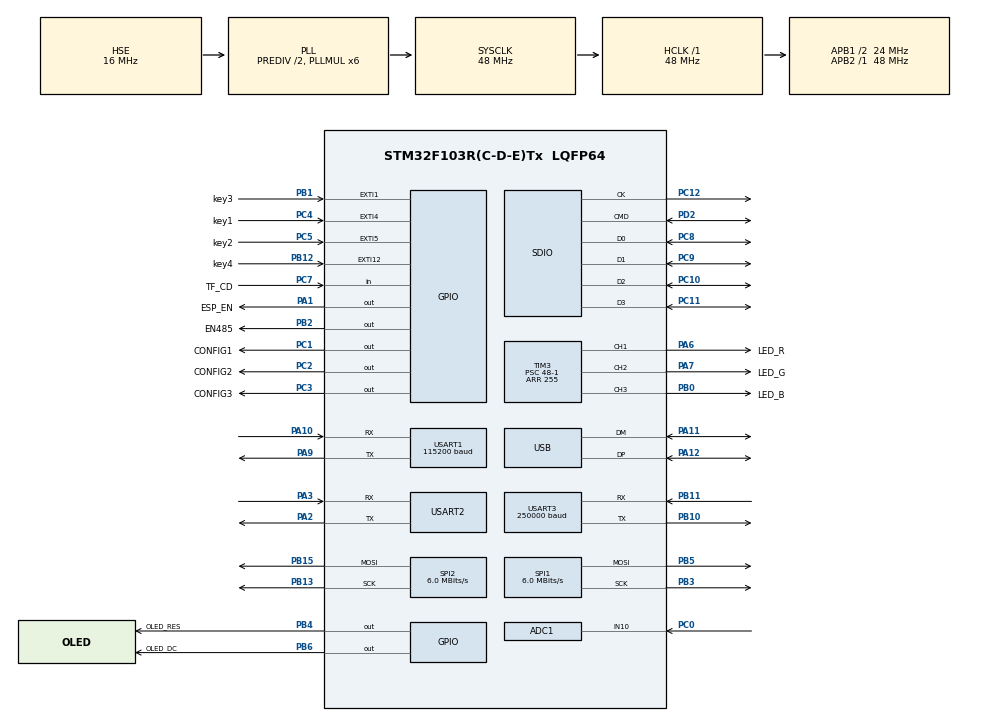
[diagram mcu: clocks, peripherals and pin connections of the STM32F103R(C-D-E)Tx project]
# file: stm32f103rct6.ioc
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ADC1.Channel-0\#ChannelRegularConversion=ADC_CHANNEL_10
ADC1.ContinuousConvMode=DISABLE
ADC1.EnableInjectedConversion=DISABLE
ADC1.ExternalTrigConv=ADC_EXTERNALTRIGCONV_T8_TRGO
ADC1.NbrOfConversion=1
ADC1.NbrOfConversionFlag=1
ADC1.Rank-0\#ChannelRegularConversion=1
ADC1.SamplingTime-0\#ChannelRegularConversion=ADC_SAMPLETIME_239CYCLES_5
ADC1.master=1
Dma.ADC1.5.Direction=DMA_PERIPH_TO_MEMORY
Dma.ADC1.5.Instance=DMA1_Channel1
Dma.ADC1.5.MemDataAlignment=DMA_MDATAALIGN_HALFWORD
Dma.ADC1.5.MemInc=DMA_MINC_ENABLE
Dma.ADC1.5.Mode=DMA_NORMAL
Dma.ADC1.5.PeriphDataAlignment=DMA_PDATAALIGN_HALFWORD
Dma.ADC1.5.PeriphInc=DMA_PINC_DISABLE
Dma.ADC1.5.Priority=DMA_PRIORITY_LOW
Dma.Request0=SPI1_TX
Dma.Request1=USART2_RX
Dma.Request2=USART2_TX
Dma.Request3=SDIO
Dma.Request4=SPI2_TX
Dma.Request5=ADC1
Dma.SDIO.3.Direction=DMA_PERIPH_TO_MEMORY
Dma.SDIO.3.Instance=DMA2_Channel4
Dma.SDIO.3.MemDataAlignment=DMA_MDATAALIGN_WORD
Dma.SDIO.3.MemInc=DMA_MINC_ENABLE
Dma.SDIO.3.Mode=DMA_NORMAL
Dma.SDIO.3.PeriphDataAlignment=DMA_PDATAALIGN_WORD
Dma.SDIO.3.PeriphInc=DMA_PINC_DISABLE
Dma.SDIO.3.Priority=DMA_PRIORITY_LOW
Dma.SPI1_TX.0.Direction=DMA_MEMORY_TO_PERIPH
Dma.SPI1_TX.0.Instance=DMA1_Channel3
Dma.SPI1_TX.0.MemDataAlignment=DMA_MDATAALIGN_BYTE
Dma.SPI1_TX.0.MemInc=DMA_MINC_ENABLE
Dma.SPI1_TX.0.Mode=DMA_NORMAL
Dma.SPI1_TX.0.PeriphDataAlignment=DMA_PDATAALIGN_BYTE
Dma.SPI1_TX.0.PeriphInc=DMA_PINC_DISABLE
Dma.SPI1_TX.0.Priority=DMA_PRIORITY_MEDIUM
Dma.SPI2_TX.4.Direction=DMA_MEMORY_TO_PERIPH
Dma.SPI2_TX.4.Instance=DMA1_Channel5
Dma.SPI2_TX.4.MemDataAlignment=DMA_MDATAALIGN_BYTE
Dma.SPI2_TX.4.MemInc=DMA_MINC_ENABLE
Dma.SPI2_TX.4.Mode=DMA_NORMAL
Dma.SPI2_TX.4.PeriphDataAlignment=DMA_PDATAALIGN_BYTE
Dma.SPI2_TX.4.PeriphInc=DMA_PINC_DISABLE
Dma.SPI2_TX.4.Priority=DMA_PRIORITY_LOW
Dma.USART2_RX.1.Direction=DMA_PERIPH_TO_MEMORY
Dma.USART2_RX.1.Instance=DMA1_Channel6
Dma.USART2_RX.1.MemDataAlignment=DMA_MDATAALIGN_BYTE
Dma.USART2_RX.1.MemInc=DMA_MINC_ENABLE
Dma.USART2_RX.1.Mode=DMA_NORMAL
Dma.USART2_RX.1.PeriphDataAlignment=DMA_PDATAALIGN_BYTE
Dma.USART2_RX.1.PeriphInc=DMA_PINC_DISABLE
Dma.USART2_RX.1.Priority=DMA_PRIORITY_HIGH
Dma.USART2_TX.2.Direction=DMA_MEMORY_TO_PERIPH
Dma.USART2_TX.2.Instance=DMA1_Channel7
Dma.USART2_TX.2.MemDataAlignment=DMA_MDATAALIGN_BYTE
Dma.USART2_TX.2.MemInc=DMA_MINC_ENABLE
Dma.USART2_TX.2.Mode=DMA_NORMAL
Dma.USART2_TX.2.PeriphDataAlignment=DMA_PDATAALIGN_BYTE
Dma.USART2_TX.2.PeriphInc=DMA_PINC_DISABLE
Dma.USART2_TX.2.Priority=DMA_PRIORITY_LOW
FATFS.BSP.number=1
FATFS._CODE_PAGE=437
FATFS._LFN_UNICODE=0
FATFS._MAX_LFN=100
FATFS._USE_LFN=3
FATFS._USE_STRFUNC=1
FATFS0.BSP.STBoard=false
FATFS0.BSP.api=Unknown
FATFS0.BSP.instance=PC7
FATFS0.BSP.ip=GPIO
FATFS0.BSP.mode=Input
FATFS0.BSP.name=Detect_SDIO
FATFS0.BSP.solution=PC7
Mcu.Family=STM32F1
Mcu.Name=STM32F103R(C-D-E)Tx
Mcu.Package=LQFP64
NVIC.DMA1_Channel1_IRQn=true\:0\:0\:false\:false\:true\:false\:true\:true
NVIC.DMA1_Channel3_IRQn=true\:1\:0\:true\:false\:true\:false\:true\:true
NVIC.DMA1_Channel5_IRQn=true\:0\:0\:false\:false\:true\:false\:true\:true
NVIC.DMA1_Channel6_IRQn=true\:0\:0\:true\:false\:true\:false\:true\:true
NVIC.DMA1_Channel7_IRQn=true\:0\:0\:true\:false\:true\:false\:true\:true
NVIC.DMA2_Channel4_5_IRQn=true\:2\:0\:true\:false\:true\:false\:true\:true
NVIC.EXTI15_10_IRQn=true\:2\:0\:true\:false\:true\:true\:true\:true
NVIC.EXTI1_IRQn=true\:2\:0\:true\:false\:true\:true\:true\:true
NVIC.EXTI4_IRQn=true\:2\:0\:true\:false\:true\:true\:true\:true
NVIC.EXTI9_5_IRQn=true\:2\:0\:true\:false\:true\:true\:true\:true
NVIC.PriorityGroup=NVIC_PRIORITYGROUP_4
NVIC.SDIO_IRQn=true\:1\:0\:true\:false\:true\:true\:true\:true
NVIC.SPI1_IRQn=true\:1\:0\:true\:false\:true\:true\:true\:true
NVIC.SPI2_IRQn=true\:1\:0\:true\:false\:true\:true\:true\:true
NVIC.TIM1_UP_IRQn=true\:1\:0\:true\:false\:true\:true\:true\:true
NVIC.TIM2_IRQn=true\:15\:0\:true\:false\:true\:false\:true\:true
NVIC.TIM4_IRQn=true\:0\:0\:true\:false\:true\:true\:true\:true
NVIC.TIM5_IRQn=true\:1\:0\:true\:false\:true\:true\:true\:true
NVIC.TimeBase=TIM2_IRQn
NVIC.TimeBaseIP=TIM2
NVIC.USART1_IRQn=true\:0\:0\:true\:false\:true\:true\:true\:true
NVIC.USART2_IRQn=true\:0\:0\:true\:false\:true\:true\:true\:true
NVIC.USB_HP_CAN1_TX_IRQn=true\:1\:0\:true\:false\:true\:true\:true\:true
NVIC.USB_LP_CAN1_RX0_IRQn=true\:0\:0\:false\:false\:true\:false\:true\:true
PA1.GPIO_Label=ESP_EN
PA1.Signal=GPIO_Output
PA10.Mode=Asynchronous
PA10.Signal=USART1_RX
PA11.Mode=Device
PA11.Signal=USB_DM
PA12.Mode=Device
PA12.Signal=USB_DP
PA13.Mode=Serial_Wire
PA13.Signal=SYS_JTMS-SWDIO
PA14.Mode=Serial_Wire
PA14.Signal=SYS_JTCK-SWCLK
PA2.Mode=Asynchronous
PA2.Signal=USART2_TX
PA3.Mode=Asynchronous
PA3.Signal=USART2_RX
PA6.GPIO_Label=LED_R
PA6.Signal=S_TIM3_CH1
PA7.GPIO_Label=LED_G
PA7.Signal=S_TIM3_CH2
PA9.Mode=Asynchronous
PA9.Signal=USART1_TX
PB0.GPIO_Label=LED_B
PB0.Signal=S_TIM3_CH3
PB1.GPIO_Label=key3
PB1.GPIO_ModeDefaultEXTI=GPIO_MODE_IT_RISING_FALLING
PB1.GPIO_PuPd=GPIO_PULLUP
PB1.Signal=GPXTI1
PB10.Mode=Asynchronous
PB10.Signal=USART3_TX
PB11.Mode=Asynchronous
PB11.Signal=USART3_RX
PB12.GPIO_Label=key4
PB12.GPIO_ModeDefaultEXTI=GPIO_MODE_IT_RISING_FALLING
PB12.GPIO_PuPd=GPIO_PULLUP
PB12.Signal=GPXTI12
PB13.Mode=TX_Only_Simplex_Unidirect_Master
PB13.Signal=SPI2_SCK
PB15.Mode=TX_Only_Simplex_Unidirect_Master
PB15.Signal=SPI2_MOSI
PB2.GPIO_Label=EN485
PB2.Signal=GPIO_Output
PB3.Mode=TX_Only_Simplex_Unidirect_Master
PB3.Signal=SPI1_SCK
PB4.GPIO_Label=OLED_RES
PB4.GPIO_ModeDefaultOutputPP=GPIO_MODE_OUTPUT_PP
PB4.GPIO_PuPd=GPIO_NOPULL
PB4.Signal=GPIO_Output
PB5.Mode=TX_Only_Simplex_Unidirect_Master
PB5.Signal=SPI1_MOSI
PB6.GPIO_Label=OLED_DC
PB6.GPIO_PuPd=GPIO_NOPULL
PB6.GPIO_Speed=GPIO_SPEED_FREQ_HIGH
PB6.PinState=GPIO_PIN_RESET
PB6.Signal=GPIO_Output
PC0.Signal=ADCx_IN10
PC1.GPIO_Label=CONFIG1
PC1.GPIO_ModeDefaultOutputPP=GPIO_MODE_OUTPUT_OD
PC1.GPIO_PuPd=GPIO_NOPULL
PC1.PinState=GPIO_PIN_SET
PC1.Signal=GPIO_Output
PC10.Mode=SD_4_bits_Wide_bus
PC10.Signal=SDIO_D2
PC11.Mode=SD_4_bits_Wide_bus
PC11.Signal=SDIO_D3
PC12.Mode=SD_4_bits_Wide_bus
PC12.Signal=SDIO_CK
PC2.GPIO_Label=CONFIG2
PC2.Signal=GPIO_Output
PC3.GPIO_Label=CONFIG3
PC3.Signal=GPIO_Output
PC4.GPIO_Label=key1
PC4.GPIO_ModeDefaultEXTI=GPIO_MODE_IT_RISING_FALLING
PC4.GPIO_PuPd=GPIO_PULLUP
PC4.Signal=GPXTI4
PC5.GPIO_Label=key2
PC5.GPIO_ModeDefaultEXTI=GPIO_MODE_IT_RISING_FALLING
PC5.GPIO_PuPd=GPIO_PULLUP
PC5.Signal=GPXTI5
PC7.GPIO_Label=TF_CD
PC7.GPIO_PuPd=GPIO_PULLDOWN
PC7.Signal=GPIO_Input
PC8.Mode=SD_4_bits_Wide_bus
PC8.Signal=SDIO_D0
PC9.Mode=SD_4_bits_Wide_bus
PC9.Signal=SDIO_D1
PD0-OSC_IN.Mode=HSE-External-Oscillator
PD0-OSC_IN.Signal=RCC_OSC_IN
PD1-OSC_OUT.Mode=HSE-External-Oscillator
PD1-OSC_OUT.Signal=RCC_OSC_OUT
PD2.Mode=SD_4_bits_Wide_bus
PD2.Signal=SDIO_CMD
ProjectManager.HeapSize=0x1000
ProjectManager.StackSize=0x1200
ProjectManager.TargetToolchain=MDK-ARM V5.32
RCC.ADCPresc=RCC_ADCPCLK2_DIV4
RCC.AHBFreq_Value=48000000
RCC.APB1CLKDivider=RCC_HCLK_DIV2
RCC.APB1Freq_Value=24000000
RCC.APB1TimFreq_Value=48000000
RCC.APB2Freq_Value=48000000
RCC.APB2TimFreq_Value=48000000
RCC.HCLKFreq_Value=48000000
RCC.HSEDivPLL=RCC_HSE_PREDIV_DIV2
RCC.HSE_VALUE=16000000
RCC.PLLMUL=RCC_PLL_MUL6
RCC.PLLSourceVirtual=RCC_PLLSOURCE_HSE
RCC.RTCClockSelection=RCC_RTCCLKSOURCE_LSE
RCC.SYSCLKFreq_VALUE=48000000
RCC.SYSCLKSource=RCC_SYSCLKSOURCE_PLLCLK
RCC.USBFreq_Value=48000000
SDIO.ClockDiv=2
SDIO.HardwareFlowControl=SDIO_HARDWARE_FLOW_CONTROL_ENABLE
SH.ADCx_IN10.0=ADC1_IN10,IN10
SH.S_TIM3_CH1.0=TIM3_CH1,PWM Generation1 CH1
SH.S_TIM3_CH2.0=TIM3_CH2,PWM Generation2 CH2
SH.S_TIM3_CH3.0=TIM3_CH3,PWM Generation3 CH3
SPI1.BaudRatePrescaler=SPI_BAUDRATEPRESCALER_8
SPI1.CalculateBaudRate=6.0 MBits/s
SPI1.Direction=SPI_DIRECTION_2LINES
SPI1.Mode=SPI_MODE_MASTER
SPI1.VirtualType=VM_MASTER
SPI2.BaudRatePrescaler=SPI_BAUDRATEPRESCALER_4
SPI2.CLKPhase=SPI_PHASE_2EDGE
SPI2.CalculateBaudRate=6.0 MBits/s
SPI2.DataSize=SPI_DATASIZE_8BIT
SPI2.Direction=SPI_DIRECTION_2LINES
SPI2.Mode=SPI_MODE_MASTER
SPI2.VirtualType=VM_MASTER
TIM1.ClockDivision=TIM_CLOCKDIVISION_DIV1
TIM1.Period=65535
TIM1.Prescaler=480-1
TIM3.Channel-PWM\ Generation1\ CH1=TIM_CHANNEL_1
TIM3.Channel-PWM\ Generation2\ CH2=TIM_CHANNEL_2
TIM3.Channel-PWM\ Generation3\ CH3=TIM_CHANNEL_3
TIM3.Channel-PWM\ Generation4\ CH4=TIM_CHANNEL_4
TIM3.OC1Preload_PWM=DISABLE
TIM3.OC2Preload_PWM=DISABLE
TIM3.OC3Preload_PWM=DISABLE
TIM3.Period=255
TIM3.Prescaler=48-1
TIM4.Period=5000
TIM4.Prescaler=480-1
TIM5.Period=10000
TIM5.Prescaler=48-1
TIM8.AutoReloadPreload=TIM_AUTORELOAD_PRELOAD_ENABLE
TIM8.Period=480-1
TIM8.TIM_MasterOutputTrigger=TIM_TRGO_UPDATE
USART1.BaudRate=115200
USART1.VirtualMode=VM_ASYNC
USART2.VirtualMode=VM_ASYNC
USART3.BaudRate=250000
USART3.VirtualMode=VM_ASYNC
USB_DEVICE.CLASS_NAME_FS=MSC
USB_DEVICE.VirtualMode=Msc
USB_DEVICE.VirtualModeFS=Msc_FS
VP_FATFS_VS_SDIO.Mode=SDIO
VP_SYS_VS_tim2.Mode=TIM2
VP_TIM1_VS_ClockSourceINT.Mode=Internal
VP_TIM3_VS_ClockSourceINT.Mode=Internal
VP_TIM4_VS_ClockSourceINT.Mode=Internal
VP_TIM5_VS_ClockSourceINT.Mode=Internal
VP_TIM8_VS_ClockSourceINT.Mode=Internal
VP_USB_DEVICE_VS_USB_DEVICE_MSC_FS.Mode=MSC_FS
board=custom

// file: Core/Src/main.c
/* USER CODE BEGIN Header */
/**
 ******************************************************************************
 * @file           : main.c
 * @brief          : Main program body
 ******************************************************************************
 * @attention
 *
 * Copyright (c) 2023 STMicroelectronics.
 * All rights reserved.
 *
 * This software is licensed under terms that can be found in the LICENSE file
 * in the root directory of this software component.
 * If no LICENSE file comes with this software, it is provided AS-IS.
 *
 ******************************************************************************
 */
/* USER CODE END Header */
#include "main.h"
#include "adc.h"
#include "dma.h"
#include "fatfs.h"
#include "sdio.h"
#include "spi.h"
#include "tim.h"
#include "usart.h"
#include "usb_device.h"
#include "gpio.h"

/* USER CODE BEGIN Includes */
#include "stdio.h"
#include "oled.h"
#include "ws2811.h"
#include "myFatfs.h"
#include "GUI.h"
#include "ESP8266.h"
#include "stdio.h"
#include "arm_math.h"
#include "arm_const_structs.h"

#define FFT_LENGTH 32
volatile uint16_t adc_buf[FFT_LENGTH];
float fft_input[FFT_LENGTH * 2];
float fft_output[FFT_LENGTH];
/* USER CODE END Includes */

/* USER CODE BEGIN PM */

int fputc(int ch, FILE *f)
{
  uint8_t data = (uint8_t)ch;
  HAL_UART_Transmit(&huart1, &data, 1, 10);
  return (ch);
}
/* USER CODE END PM */

/* USER CODE BEGIN PV */
volatile GUI_InputKey gui_key = KEY_NONE;
volatile uint8_t OLED_TRANSMIT = 0;
volatile uint8_t HTTP_GET = 0;

extern volatile uint8_t adc_flag;
/* USER CODE END PV */

void SystemClock_Config(void);

/* USER CODE BEGIN 0 */
void FS_TRANS(uint8_t *pData, uint16_t Size)
{
  if (ESP8266_UART_status != ESP8266_ACK_ERROR)
  {
    uint8_t a[20] = {0};
    sprintf((char *)a, "AT+CIPSEND=0,%d\r\n", (int)Size);
    FS_uart_status = FS_UART_BUSY;
    HAL_UART_Transmit_DMA(&huart2, a, strlen((const char *)a));
    while (FS_uart_status)
      ;
    HAL_Delay(2);
    FS_uart_status = FS_UART_BUSY;
    HAL_UART_Transmit_DMA(&huart2, pData, Size);
    while (FS_uart_status)
      ;
    HAL_Delay(10);
  }
}

void dir_read(const TCHAR *path)
{
  FIL file;
  DIR dirs;
  static FILINFO finfo;
  if (f_opendir(&dirs, path) == FR_OK) // 打开文件夹成�?????????????????????????????
  {
    // printf("Now Dir:%s\r\n", finfo.fname);
    while (f_readdir(&dirs, &finfo) == FR_OK) // 按顺序读文件�?????????????????????????????
    {
      if (!finfo.fname[0])
        break; // 如果文件名为0，结�?????????????????????????????
      else
      {
        if (finfo.fattrib == AM_DIR)
        {
          printf("Now Dir:%s\r\n", finfo.fname);
          dir_read(finfo.fname);
        }
        else if (finfo.fattrib == AM_ARC) // 判断文件属�??
        {
          printf("FileName:%s\r\n", finfo.fname);
          myfatfs_open(&file, finfo.fname, FS_TRANS);
        }
      }
    }
  }
}

void FFT()
{
  HAL_TIM_Base_Start(&htim8);                                 // 开启定时器8
  HAL_ADCEx_Calibration_Start(&hadc1);                        // AD校准，F4不用校准没用这行函数。
  HAL_ADC_Start_DMA(&hadc1, (uint32_t *)adc_buf, FFT_LENGTH); // 让ADC1去采集200个数，存放到adc_buff数组里
  while (!adc_flag)                                           // 等待转换完毕
    ;
  HAL_TIM_Base_Stop(&htim8);
  for (uint16_t i = 0; i < FFT_LENGTH; i++)
  {
    fft_input[i * 2] = (float)adc_buf[i] * 3.3 / 4095; // 实部赋�?�，* 3.3 / 4096是为了将ADC采集到的值转换成实际电压
    fft_input[i * 2 + 1] = 0;                          // 虚部赋�?�，固定�?0.
  }

  arm_cfft_f32(&arm_cfft_sR_f32_len32, fft_input, 0, 1); // 输出数组为原数组。虚实位置不变，但是有了对应的频率含�?
  arm_cmplx_mag_f32(fft_input, fft_output, FFT_LENGTH);  // 把运算结果复数求模得幅�??
  /**********************处理变换结果*******************************/
  fft_output[0] /= FFT_LENGTH;

  for (uint16_t i = 1; i < FFT_LENGTH; i++) // 输出各次谐波幅�??
  {
    if (fft_output[i])
      ;//fft_output[i] /= FFT_LENGTH / 2;
  }

  for (uint16_t i = 0; i < FFT_LENGTH / 2; i++)
  {
    printf("%d:%.3f\r\n", i, fft_output[i]); // 数据打印，查看结果
  }
  //OLED_Fill(0);
  uint8_t a[]={0xff};
  OLED_DrawBMP(0,0,1,1,a);

}
/* USER CODE END 0 */

int main(void)
{

  /* MCU Configuration--------------------------------------------------------*/

  /* Reset of all peripherals, Initializes the Flash interface and the Systick. */
  HAL_Init();

  /* Configure the system clock */
  SystemClock_Config();

  /* Initialize all configured peripherals */
  MX_GPIO_Init();
  MX_DMA_Init();
  MX_USART1_UART_Init();
  MX_SPI1_Init();
  MX_SPI2_Init();
  MX_TIM3_Init();
  MX_USART2_UART_Init();
  MX_ADC1_Init();
  MX_SDIO_SD_Init();
  MX_USART3_UART_Init();
  MX_TIM1_Init();
  MX_TIM4_Init();
  MX_TIM8_Init();
  MX_FATFS_Init();
  MX_USB_DEVICE_Init();
  MX_TIM5_Init();
  /* USER CODE BEGIN 2 */
  OLED_Init();
  GUI_REFRESH;
  HAL_TIM_Base_Start_IT(&htim4);

  ws2811_Init();
  HAL_TIM_PWM_Start(&htim3, TIM_CHANNEL_1);
  HAL_TIM_PWM_Start(&htim3, TIM_CHANNEL_2);
  HAL_TIM_PWM_Start(&htim3, TIM_CHANNEL_3);
  // HAL_UARTEx_ReceiveToIdle_DMA(&huart1, rx1_buf, sizeof(rx1_buf));
  HAL_UARTEx_ReceiveToIdle_DMA(&huart2, rx2_buf, sizeof(rx2_buf));

  HAL_TIM_Base_Start_IT(&htim5);

  ESP8266_Init();
  ESP8266_HTTP_ON();

  /* USER CODE END 2 */

  /* Infinite loop */
  /* USER CODE BEGIN WHILE */
  while (1)
  {
    //FFT();
    while (gui_key != KEY_NONE && OLED_TRANSMIT == 0)
    {
      GUI_Refresh(gui_key);
      gui_key = KEY_NONE;
    }
    switch (ESP8266_UART_status)
    {
    case ESP8266_UART_READY:
      OLED_DrawStr(97, 0, "Ready");
      break;
    case ESP8266_UART_WAIT4TRANS:
      OLED_DrawStr(97, 0, "W4TX ");
      break;
    case ESP8266_UART_WAIT4ACK:
      OLED_DrawStr(97, 0, "W4ACK");
      break;
    case ESP8266_ACK_OK:
      OLED_DrawStr(97, 0, "OK   ");
      break;
    case ESP8266_ACK_ERROR:
      OLED_DrawStr(97, 0, "Error");
      break;
    default:
      OLED_DrawStr(97, 0, "TIMEO");
      break;
    }
    HAL_Delay(10);
    if (HTTP_GET == 1)
    {
      HTTP_GET = 0;
      uint8_t a[60];
      HAL_Delay(100);
      ESP8266_UART_status = ESP8266_TIMEOUT;
      while (ESP8266_UART_status != ESP8266_UART_READY)
      {
        ESP8266_AT(&huart2, ATCMD_TEST);
      }
      sprintf((char *)a, "HTTP/1.1 404 NOT FOUND\r\nConnection: close\r\n\r\nNOT FOUND\r\n");
      FS_TRANS(a, strlen((const char *)a));
      HAL_Delay(100);
      ESP8266_AT(&huart2, ATCMD_TCP_CLOSE);
    }
    else if (HTTP_GET == 6)
    {
      HAL_Delay(500);
      ESP8266_UART_status = ESP8266_TIMEOUT;
      while (ESP8266_UART_status != ESP8266_UART_READY)
      {
        ESP8266_AT(&huart2, ATCMD_TEST);
      }
      HTTP_GET = 0;
      uint8_t a[200];
      sprintf((char *)a, "HTTP/1.1 200 OK\r\nAccept-Ranges: bytes\r\nContent-Length: %d\r\nContent-Type: text/html; charset=utf-8\r\nContent-Encoding: gzip\r\n\r\n", (int)fatfs_size("gz/asd.gz"));
      FS_TRANS(a, strlen((const char *)a));
      fatfs_open("gz/asd.gz");
      ESP8266_AT(&huart2, ATCMD_TCP_CLOSE);
    }
    else if (HTTP_GET == 2)
    {
      HTTP_GET = 0;
      uint8_t a[200];
      sprintf((char *)a, "HTTP/1.1 200 OK\r\nAccept-Ranges: bytes\r\nContent-Length: %d\r\nContent-Type: text/css; charset=utf-8\r\n\r\n", (int)fatfs_size("index.css"));
      FS_TRANS(a, strlen((const char *)a));
      fatfs_open("index.css");
    }
    else if (HTTP_GET == 3)
    {
      HTTP_GET = 0;
      uint8_t a[200];
      sprintf((char *)a, "HTTP/1.1 200 OK\r\nAccept-Ranges: bytes\r\nContent-Length: %d\r\nContent-Type: application/json; charset=utf-8\r\n\r\n", (int)fatfs_size("index.js"));
      FS_TRANS(a, strlen((const char *)a));
      fatfs_open("index.js");
    }
    else if (HTTP_GET == 4)
    {
      HTTP_GET = 0;
      uint8_t a[200];
      sprintf((char *)a, "HTTP/1.1 200 OK\r\nAccept-Ranges: bytes\r\nContent-Length: %d\r\nContent-Type: application/json; charset=utf-8\r\n\r\n", (int)fatfs_size("min.js"));
      FS_TRANS(a, strlen((const char *)a));
      fatfs_open("min.js");
    }
    else if (HTTP_GET == 5)
    {
      HTTP_GET = 0;
      uint8_t a[127];
      sprintf((char *)a,
              "HTTP/1.1 200 OK\r\nAccept-Ranges: bytes\r\nContent-Length: 2\r\nContent-Type: application/x-www-form-urlencoded; charset=utf-8\r\n\r\nOK");
      FS_TRANS(a, strlen((const char *)a));
    }
    else if (HTTP_GET == 7)
    {
      HTTP_GET = 0;
      uint8_t a[127];
      sprintf((char *)a,
              "HTTP/1.1 200 OK\r\nAccept-Ranges: bytes\r\nContent-Length: 2\r\nContent-Type: application/x-www-form-urlencoded; charset=utf-8\r\n\r\nOK");
      FS_TRANS(a, strlen((const char *)a));
    }
    /* USER CODE END WHILE */

  }
}

void SystemClock_Config(void)
{
  RCC_OscInitTypeDef RCC_OscInitStruct = {0};
  RCC_ClkInitTypeDef RCC_ClkInitStruct = {0};
  RCC_PeriphCLKInitTypeDef PeriphClkInit = {0};

  /** Initializes the RCC Oscillators according to the specified parameters
  * in the RCC_OscInitTypeDef structure.
  */
  RCC_OscInitStruct.OscillatorType = RCC_OSCILLATORTYPE_HSE;
  RCC_OscInitStruct.HSEState = RCC_HSE_ON;
  RCC_OscInitStruct.HSEPredivValue = RCC_HSE_PREDIV_DIV2;
  RCC_OscInitStruct.HSIState = RCC_HSI_ON;
  RCC_OscInitStruct.PLL.PLLState = RCC_PLL_ON;
  RCC_OscInitStruct.PLL.PLLSource = RCC_PLLSOURCE_HSE;
  RCC_OscInitStruct.PLL.PLLMUL = RCC_PLL_MUL6;
  if (HAL_RCC_OscConfig(&RCC_OscInitStruct) != HAL_OK)
  {
    Error_Handler();
  }

  /** Initializes the CPU, AHB and APB buses clocks
  */
  RCC_ClkInitStruct.ClockType = RCC_CLOCKTYPE_HCLK|RCC_CLOCKTYPE_SYSCLK
                              |RCC_CLOCKTYPE_PCLK1|RCC_CLOCKTYPE_PCLK2;
  RCC_ClkInitStruct.SYSCLKSource = RCC_SYSCLKSOURCE_PLLCLK;
  RCC_ClkInitStruct.AHBCLKDivider = RCC_SYSCLK_DIV1;
  RCC_ClkInitStruct.APB1CLKDivider = RCC_HCLK_DIV2;
  RCC_ClkInitStruct.APB2CLKDivider = RCC_HCLK_DIV1;

  if (HAL_RCC_ClockConfig(&RCC_ClkInitStruct, FLASH_LATENCY_1) != HAL_OK)
  {
    Error_Handler();
  }
  PeriphClkInit.PeriphClockSelection = RCC_PERIPHCLK_ADC|RCC_PERIPHCLK_USB;
  PeriphClkInit.AdcClockSelection = RCC_ADCPCLK2_DIV4;
  PeriphClkInit.UsbClockSelection = RCC_USBCLKSOURCE_PLL;
  if (HAL_RCCEx_PeriphCLKConfig(&PeriphClkInit) != HAL_OK)
  {
    Error_Handler();
  }
}

void HAL_TIM_PeriodElapsedCallback(TIM_HandleTypeDef *htim)
{
  if (htim->Instance == TIM2) {
    HAL_IncTick();
  }
  /* USER CODE BEGIN Callback 1 */
  if (htim == &htim1)
  {
    HAL_TIM_Base_Stop_IT(&htim1);
    extern GUI_InputKey press_key;
    static GUI_InputKey long_press = KEY_NONE;
    if (long_press == KEY_NONE)
    {
      long_press = press_key;
      press_key = KEY_NONE;
      htim1.Instance->ARR = 10000;
      HAL_TIM_Base_Start_IT(&htim1);
    }
    else
    {
      if (long_press == KEY_UP)
      {
        if (HAL_GPIO_ReadPin(key1_GPIO_Port, key1_Pin) == GPIO_PIN_RESET)
        {
          gui_key = long_press;
          htim1.Instance->ARR = 10000;
          HAL_TIM_Base_Start_IT(&htim1);
        }
        else
        {
          HAL_TIM_Base_Stop_IT(&htim1);
          htim1.Instance->ARR = 65535;
          long_press = KEY_NONE;
        }
      }
      else if (long_press == KEY_DOWN)
      {
        if (HAL_GPIO_ReadPin(key2_GPIO_Port, key2_Pin) == GPIO_PIN_RESET)
        {
          gui_key = long_press;
          htim1.Instance->ARR = 10000;
          HAL_TIM_Base_Start_IT(&htim1);
        }
        else
        {
          HAL_TIM_Base_Stop_IT(&htim1);
          htim1.Instance->ARR = 65535;
          long_press = KEY_NONE;
        }
      }
      else if (long_press == KEY_BACK)
      {
        if (HAL_GPIO_ReadPin(key3_GPIO_Port, key3_Pin) == GPIO_PIN_RESET)
        {
          gui_key = long_press;
          htim1.Instance->ARR = 5000;
          HAL_TIM_Base_Start_IT(&htim1);
        }
        else
        {
          HAL_TIM_Base_Stop_IT(&htim1);
          htim1.Instance->ARR = 65535;
          long_press = KEY_NONE;
        }
      }
      else if (long_press == KEY_OK)
      {
        if (HAL_GPIO_ReadPin(key4_GPIO_Port, key4_Pin) == GPIO_PIN_RESET)
        {
          gui_key = long_press;
          htim1.Instance->ARR = 2000;
          HAL_TIM_Base_Start_IT(&htim1);
        }
        else
        {
          HAL_TIM_Base_Stop_IT(&htim1);
          htim1.Instance->ARR = 65535;
          long_press = KEY_NONE;
        }
      }
    }
  }
  else if (htim == &htim4)
  {
    if (gui_key == KEY_NONE && OLED_TRANSMIT == 0)
    {
      OLED_TRANSMIT = 1;
      OLED_Reflash();
    }
  }
  else if (htim == &htim5)
  {
    ws2811_refresh();
    htim3.Instance->CCR1 = rgb[0].R;
    htim3.Instance->CCR2 = rgb[0].G;
    htim3.Instance->CCR3 = rgb[0].B;
  }
  /* USER CODE END Callback 1 */
}

void Error_Handler(void)
{
  __disable_irq();
  while (1)
  {
  }
}
